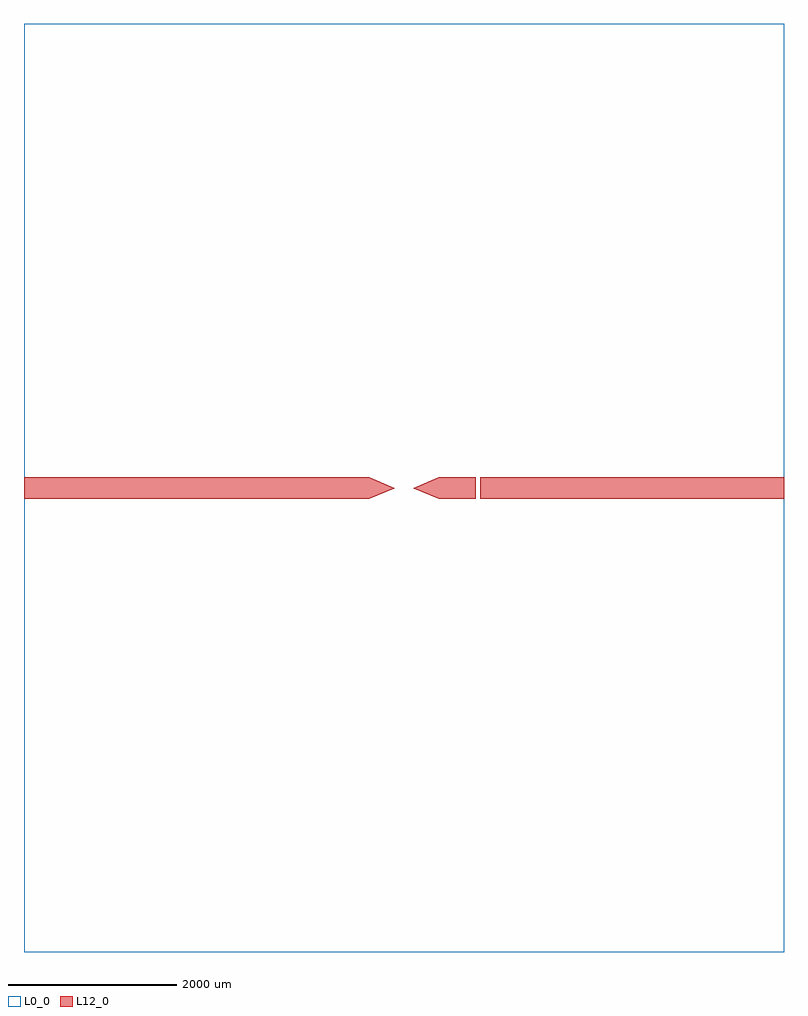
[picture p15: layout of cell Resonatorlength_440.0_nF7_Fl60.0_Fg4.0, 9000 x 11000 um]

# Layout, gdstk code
import gdstk
lib = gdstk.Library(unit=1e-6, precision=1e-09)
def R(c, l, rs):  # rectangles x0, y0, x1, y1
    for r in rs: c.add(gdstk.rectangle(r[:2], r[2:], *l))
def P(c, l, *ps):  # polygons
    for p in ps: c.add(gdstk.Polygon(p, *l))
L0_0 = (0, 0)
L12_0 = (12, 0)

resonatorlength_440_0_nf = lib.new_cell('Resonatorlength_440.0_nF7_Fl60.0_Fg4.0')
R(resonatorlength_440_0_nf, L0_0, [(-4500,-5500,4500,5500)])
R(resonatorlength_440_0_nf, L12_0, [(-4500,-125,-916,125), (-916,-125,-856,-92.714), (-852,-125,-412,125), (412,-125,852,125), (902,-125,4500,125), (-912,-88.714,-852,-56.429), (-916,-52.429,-856,-20.143), (-912,-16.143,-852,16.143), (-916,20.143,-856,52.429), (-912,56.429,-852,88.714), (-916,92.714,-856,125)])
P(resonatorlength_440_0_nf, L12_0, [(-412,125),(-412,-125),(-108.5,0)],
  [(412,125),(412,-125),(108.5,0)])

lib.write_gds('Resonatorlength_440.0_nF7_Fl60.0_Fg4.0.gds')
